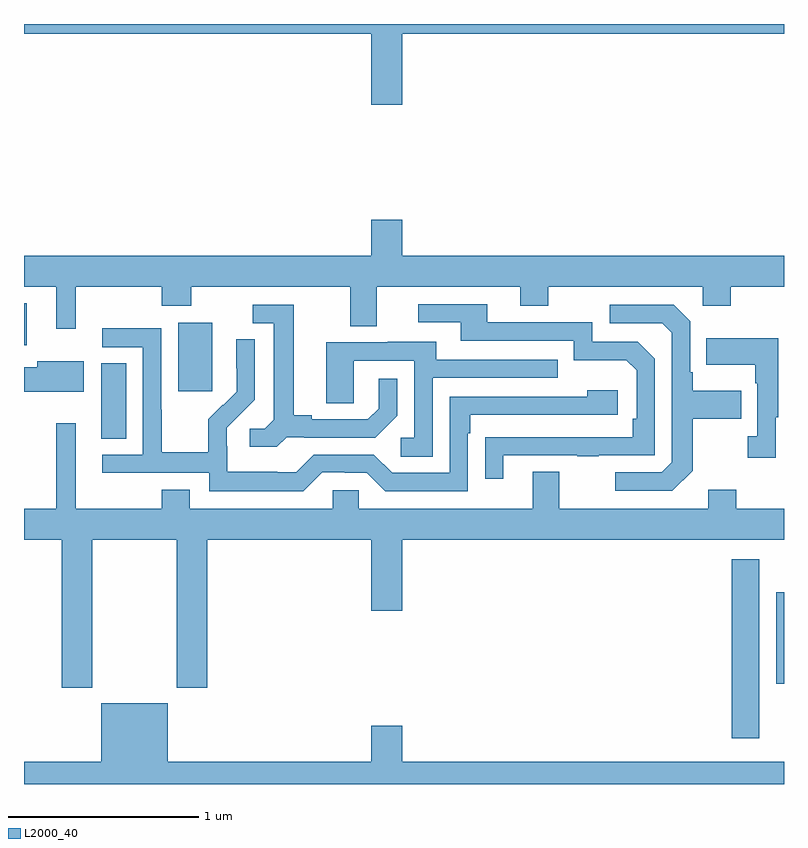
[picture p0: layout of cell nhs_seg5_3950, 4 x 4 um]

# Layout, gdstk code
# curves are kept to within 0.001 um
import gdstk
lib = gdstk.Library(unit=1e-6, precision=1e-09)
def R(c, l, rs):  # rectangles x0, y0, x1, y1
    for r in rs: c.add(gdstk.rectangle(r[:2], r[2:], *l))
def P(c, l, *ps):  # polygons
    for p in ps: c.add(gdstk.Polygon(p, *l))
L2000_40 = (2000, 40)

nhs_seg5_3950 = lib.new_cell('nhs_seg5_3950')
R(nhs_seg5_3950, L2000_40, [(346.724,865.041,346.87,865.981), (346.959,865.326,347,865.809), (343.406,866.617,343.537,867.014), (343.811,866.865,343.99,867.226), (343,867.107,343.015,867.328)])
P(nhs_seg5_3950, L2000_40, [(344.992,868.748),(347,868.748),(347,868.799),(343,868.799),(343,868.748),(344.828,868.748),(344.828,868.374),(344.992,868.374)],
  [(343.273,867.416),(343.726,867.416),(343.726,867.317),(343.881,867.317),(343.881,867.416),(344.717,867.416),(344.717,867.208),(344.857,867.208),(344.857,867.416),(345.611,867.416),(345.611,867.317),(345.759,867.317),(345.759,867.416),(346.572,867.416),(346.572,867.317),(346.719,867.317),(346.719,867.416),(347,867.416),(347,867.58),(344.992,867.58),(344.992,867.769),(344.828,867.769),(344.828,867.58),(343,867.58),(343,867.416),(343.169,867.416),(343.169,867.195),(343.273,867.195)],
  [(345.523,866.529),(345.913,866.529),(345.913,866.524),(346.025,866.524),(346.025,866.529),(346.32,866.529),(346.32,867.036),(346.23,867.126),(345.99,867.126),(345.99,867.228),(345.439,867.228),(345.439,867.324),(345.075,867.324),(345.075,867.228),(345.299,867.228),(345.299,867.132),(345.894,867.132),(345.894,867.029),(346.171,867.029),(346.224,866.976),(346.224,866.722),(346.204,866.722),(346.204,866.625),(345.427,866.624),(345.427,866.406),(345.523,866.406)],
  [(346.519,866.449),(346.519,866.722),(346.775,866.722),(346.775,866.869),(346.519,866.869),(346.519,866.965),(346.506,866.965),(346.506,867.234),(346.419,867.321),(346.083,867.321),(346.083,867.225),(346.359,867.225),(346.41,867.174),(346.41,866.493),(346.356,866.439),(346.113,866.439),(346.113,866.343),(346.413,866.343)],
  [(344.382,866.625),(344.476,866.625),(344.476,866.622),(344.848,866.622),(344.964,866.738),(344.964,866.932),(344.867,866.932),(344.867,866.775),(344.81,866.718),(344.515,866.718),(344.515,866.741),(344.419,866.741),(344.419,867.321),(344.205,867.321),(344.205,867.225),(344.315,867.225),(344.315,866.717),(344.268,866.67),(344.187,866.67),(344.187,866.573),(344.33,866.573)],
  [(344.571,866.439),(344.687,866.439),(344.687,866.436),(344.805,866.436),(344.901,866.34),(345.336,866.34),(345.336,866.645),(345.349,866.645),(345.349,866.742),(346.126,866.742),(346.126,866.872),(345.965,866.872),(345.965,866.838),(345.24,866.838),(345.24,866.436),(344.937,866.436),(344.841,866.532),(344.526,866.532),(344.433,866.439),(344.333,866.439),(344.333,866.443),(344.07,866.443),(344.07,866.577),(344.068,866.577),(344.068,866.674),(344.214,866.822),(344.214,867.14),(344.118,867.14),(344.118,866.986),(344.12,866.986),(344.12,866.864),(344.049,866.793),(344.046,866.796),(343.969,866.719),(343.969,866.545),(343.725,866.545),(343.725,866.768),(343.722,866.768),(343.722,867.198),(343.413,867.198),(343.413,867.099),(343.626,867.099),(343.626,866.532),(343.413,866.532),(343.413,866.436),(343.974,866.436),(343.974,866.339),(344.471,866.339)],
  [(346.957,866.729),(346.969,866.729),(346.969,867.145),(346.591,867.145),(346.591,867.005),(346.848,867.005),(346.848,866.909),(346.86,866.909),(346.86,866.63),(346.809,866.63),(346.809,866.517),(346.957,866.517)],
  [(345.15,866.937),(345.809,866.937),(345.809,867.033),(345.169,867.033),(345.169,867.127),(344.915,867.127),(344.915,867.123),(344.591,867.123),(344.591,866.803),(344.736,866.803),(344.736,867.027),(345.054,867.027),(345.054,866.622),(344.982,866.622),(344.982,866.521),(345.15,866.521)],
  [(343.315,867.025),(343.07,867.025),(343.07,866.993),(343,866.993),(343,866.864),(343.315,866.864)],
  [(343.359,866.084),(343.804,866.084),(343.804,865.305),(343.964,865.305),(343.964,866.084),(344.828,866.084),(344.828,865.71),(344.992,865.71),(344.992,866.084),(347,866.084),(347,866.248),(346.749,866.248),(346.749,866.347),(346.601,866.347),(346.601,866.248),(345.817,866.248),(345.817,866.443),(345.677,866.443),(345.677,866.248),(344.763,866.248),(344.763,866.346),(344.625,866.346),(344.625,866.248),(343.873,866.248),(343.873,866.347),(343.726,866.347),(343.726,866.248),(343.273,866.248),(343.273,866.698),(343.169,866.698),(343.169,866.248),(343,866.248),(343,866.084),(343.199,866.084),(343.199,865.305),(343.359,865.305)],
  [(344.828,865.105),(344.828,864.916),(343.756,864.916),(343.756,865.225),(343.406,865.225),(343.406,864.916),(343,864.916),(343,864.799),(347,864.799),(347,864.916),(344.992,864.916),(344.992,865.105)])

lib.write_gds('nhs_seg5_3950.gds')
